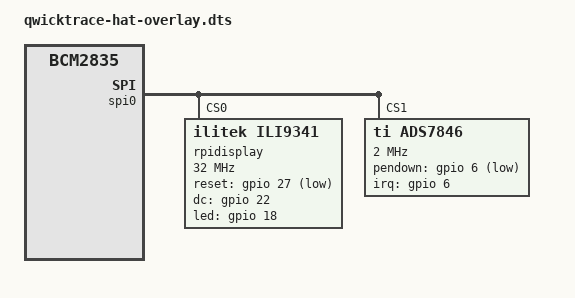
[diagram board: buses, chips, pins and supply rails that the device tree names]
/*
 * Device Tree overlay for pcb-etcher hat by jkoz
 *
 */

/dts-v1/;
/plugin/;

/ {
	compatible = "brcm,bcm2835";

	fragment@0 {
		target = <&spi0>;
		__overlay__ {
			status = "okay";
		};
	};

	fragment@1 {
		target = <&spidev0>;
		__overlay__ {
			status = "disabled";
		};
	};

	fragment@2 {
		target = <&spidev1>;
		__overlay__ {
			status = "disabled";
		};
	};

	fragment@3 {
		target = <&gpio>;
		__overlay__ {
			rpi_display_pins: rpi_display_pins {
				brcm,pins = <18 22 27>;
				brcm,function = <1 1 1>; /* out out out in */
				brcm,pull = <0 0 0>; /* - - - up */
			};

			ads7846_pins: ads7846_pins {
				brcm,pins = <6>; /* illegal default value */
				brcm,function = <0>; /* in */
				brcm,pull = <2>; /* none */
			};
		};
	};

	fragment@4 {
		target = <&spi0>;
		__overlay__ {
			/* needed to avoid dtc warning */
			#address-cells = <1>;
			#size-cells = <0>;

			rpidisplay: rpi-display@0{
				compatible = "ilitek,ili9341"; 
/*                               compatible = "multi-inno,mi0283qt";
*/				reg = <0>;
				pinctrl-names = "default";
				pinctrl-0 = <&rpi_display_pins>;

				spi-max-frequency = <32000000>;
				rotate = <90>;
				bgr;
				fps = <30>;
				buswidth = <8>;
				reset-gpios = <&gpio 27 1>;
				dc-gpios = <&gpio 22 0>;
				led-gpios = <&gpio 18 0>;
				debug = <0>;
			};

			ads7846: ads7846@1 {
				compatible = "ti,ads7846";
				reg = <1>;
				pinctrl-names = "default";
				pinctrl-0 = <&ads7846_pins>;

				spi-max-frequency = <2000000>;
				interrupts = <6 2>; /* high-to-low edge triggered */
				interrupt-parent = <&gpio>;
				pendown-gpio = <&gpio 6 1>;
				ti,y-min = /bits/ 16 <433>;
				ti,x-min = /bits/ 16 <240>;
				ti,y-max = /bits/ 16 <3894>;
				ti,x-max = /bits/ 16 <3872>;
				ti,pressure-max = /bits/ 16 <255>;
				ti,x-plate-ohms = /bits/ 16 <60>;
				ti,swap-xy = <1>;
			};
		
		};
	};

};
